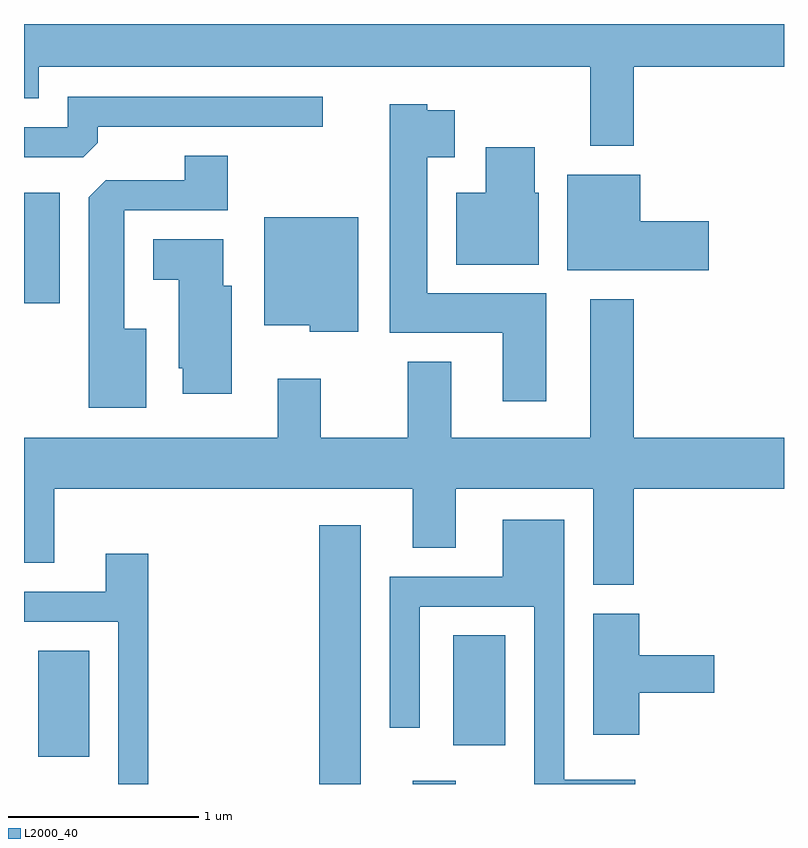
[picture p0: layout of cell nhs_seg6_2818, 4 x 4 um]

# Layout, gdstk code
import gdstk
lib = gdstk.Library(unit=1e-6, precision=1e-09)
def R(c, l, rs):  # rectangles x0, y0, x1, y1
    for r in rs: c.add(gdstk.rectangle(r[:2], r[2:], *l))
def P(c, l, *ps):  # polygons
    for p in ps: c.add(gdstk.Polygon(p, *l))
L2000_40 = (2000, 40)

nhs_seg6_2818 = lib.new_cell('nhs_seg6_2818')
R(nhs_seg6_2818, L2000_40, [(271.166,1646.162,271.384,1647.524), (271.656,1646.162,271.884,1646.179), (269.686,1646.306,269.954,1646.864), (271.871,1646.366,272.144,1646.944), (269.611,1648.691,269.799,1649.274)])
P(nhs_seg6_2818, L2000_40, [(272.819,1649.936),(273.611,1649.936),(273.611,1650.162),(269.611,1650.162),(269.611,1649.771),(269.689,1649.771),(269.689,1649.936),(272.591,1649.936),(272.591,1649.521),(272.819,1649.521)],
  [(269.999,1649.537),(269.999,1649.621),(271.183,1649.621),(271.183,1649.779),(269.841,1649.779),(269.841,1649.619),(269.611,1649.619),(269.611,1649.461),(269.924,1649.461)],
  [(272.359,1648.744),(271.734,1648.744),(271.734,1649.461),(271.879,1649.461),(271.879,1649.709),(271.734,1649.709),(271.734,1649.739),(271.536,1649.739),(271.536,1648.536),(272.131,1648.536),(272.131,1648.176),(272.359,1648.176)],
  [(272.319,1649.274),(272.299,1649.274),(272.299,1649.514),(272.041,1649.514),(272.041,1649.274),(271.886,1649.274),(271.886,1648.896),(272.319,1648.896)],
  [(270.254,1648.559),(270.139,1648.559),(270.139,1649.181),(270.684,1649.181),(270.684,1649.469),(270.456,1649.469),(270.456,1649.339),(270.042,1649.339),(269.951,1649.249),(269.951,1648.141),(270.254,1648.141)],
  [(273.214,1649.124),(272.854,1649.124),(272.854,1649.369),(272.471,1649.369),(272.471,1648.866),(273.214,1648.866)],
  [(271.369,1649.144),(270.876,1649.144),(270.876,1648.576),(271.116,1648.576),(271.116,1648.541),(271.369,1648.541)],
  [(270.704,1648.784),(270.659,1648.784),(270.659,1649.029),(270.291,1649.029),(270.291,1648.816),(270.426,1648.816),(270.426,1648.351),(270.446,1648.351),(270.446,1648.216),(270.704,1648.216)],
  [(272.819,1647.716),(273.611,1647.716),(273.611,1647.984),(272.819,1647.984),(272.819,1648.714),(272.591,1648.714),(272.591,1647.984),(271.859,1647.984),(271.859,1648.384),(271.631,1648.384),(271.631,1647.984),(271.174,1647.984),(271.174,1648.294),(270.946,1648.294),(270.946,1647.984),(269.611,1647.984),(269.611,1647.326),(269.769,1647.326),(269.769,1647.716),(271.656,1647.716),(271.656,1647.406),(271.884,1647.406),(271.884,1647.716),(272.606,1647.716),(272.606,1647.211),(272.819,1647.211)],
  [(272.828,1646.184),(272.454,1646.184),(272.454,1647.554),(272.131,1647.554),(272.131,1647.254),(271.536,1647.254),(271.536,1646.458),(271.694,1646.458),(271.694,1647.096),(272.296,1647.096),(272.296,1646.162),(272.828,1646.162)],
  [(270.264,1647.374),(270.041,1647.374),(270.041,1647.174),(269.611,1647.174),(269.611,1647.016),(270.106,1647.016),(270.106,1646.162),(270.264,1646.162)],
  [(272.849,1646.641),(273.244,1646.641),(273.244,1646.839),(272.849,1646.839),(272.849,1647.059),(272.606,1647.059),(272.606,1646.421),(272.849,1646.421)])

lib.write_gds('nhs_seg6_2818.gds')
